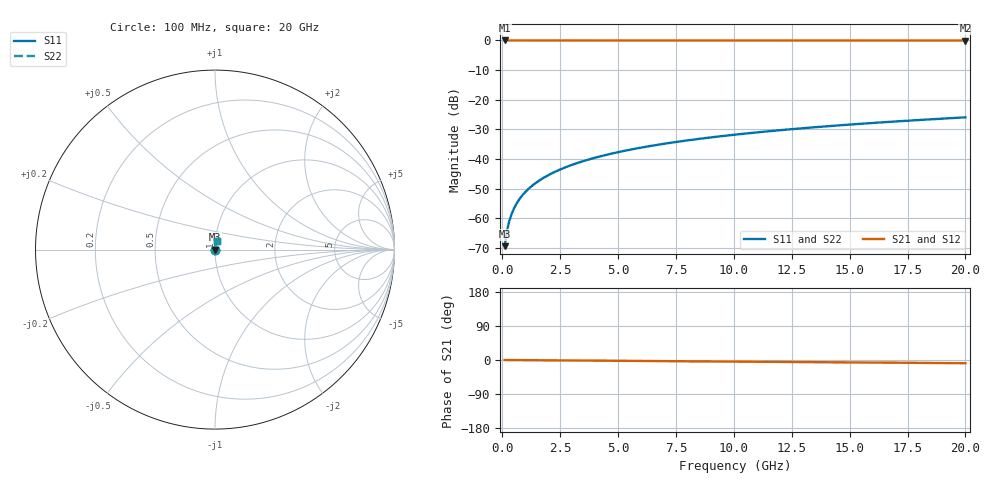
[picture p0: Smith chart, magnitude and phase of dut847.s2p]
! Touchstone file exported from HFSS 2026.1.0
!  File:  C:/ffzhzh/LocalFiles/Ansys_Project_Files/temp_train_TSV_847_1783185037_18472.aedt
!  Generated:  01:12:29 AM Jul  5, 2026
!  Design:  TSV
!  Project:  temp_train_TSV_847_1783185037_18472
! Variables:
!  h_bsmrdl = 2um
!  h_ox = 20um
!  h_rdl = 5um
!  h_sub = 75.52um
!  h_tmrdl = 5um
!  h_tsv = 75.52um
!  h_via = 3um
!  l_bsmrdl = 300um
!  l_sub = 415.88um
!  l_tmrdl = 200um
!  m_sub = 200um
!  pitch = 50.78um
!  r_tsv = 7.94um
!  s_tmrdl = 10um
!  w_bsmrdl = 18um
!  w_sub = 500um
!  w_tmrdl = 12um
!  x_tsv_center1 = 206um
!  x_tsv_center2 = 524um
!  x_tsv_center3 = 736um
!  x_tsv_center4 = 1054um
!  x_tsv_center5 = 1266um
!  x_tsv_center6 = 1584um
# GHz S MA R 50.000000
! Terminal data exported
! Port[1] = TSV1_1_T1
! Port[2] = TSV1_1_T2
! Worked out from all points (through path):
!   200 points, 100 MHz to 20 GHz, reference 50 ohm
!   highest |S21| = 0.00 dB at 100 MHz (marker M1); lowest = 0.0 dB at 20 GHz (marker M2)
!   group delay of S21, straight-line fit = 1.17 ps
!   lowest |S11| = -69.4 dB at 100 MHz (marker M3), VSWR 1.00, Z = 50 + j0.0294 ohm
!   |S11| at or under -10 dB: start of sweep to end of sweep
!   |S22| runs from -69.4 to -25.9 dB; largest |S21 - S12| = 2.3e-15
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0.1  0.0003403 59.7  0.9998 -0.0  0.9998 -0.0  0.0003403 59.7
! Gamma 0 0 0 0
! Port Impedance 50 0 50 0
0.2  0.0006133 72.7  0.9998 -0.1  0.9998 -0.1  0.0006133 72.7
0.3  0.0008961 77.3  0.9998 -0.1  0.9998 -0.1  0.0008961 77.3
0.4  0.001178 79.4  0.9998 -0.2  0.9998 -0.2  0.001178 79.4
0.5  0.001457 80.5  0.9998 -0.2  0.9998 -0.2  0.001457 80.5
0.6  0.001732 81.3  0.9997 -0.3  0.9997 -0.3  0.001732 81.3
0.7  0.002004 81.8  0.9997 -0.3  0.9997 -0.3  0.002004 81.8
0.8  0.002272 82.1  0.9997 -0.4  0.9997 -0.4  0.002272 82.1
1  0.002801 82.7  0.9997 -0.4  0.9997 -0.4  0.002801 82.7
1.4  0.003844 83.5  0.9996 -0.6  0.9996 -0.6  0.003844 83.5
1.7  0.00462 83.9  0.9996 -0.7  0.9996 -0.7  0.00462 83.9
2  0.005395 84.3  0.9995 -0.9  0.9995 -0.9  0.005395 84.3
2.7  0.007199 84.7  0.9995 -1.2  0.9995 -1.2  0.007199 84.7
3.5  0.009255 84.9  0.9994 -1.5  0.9994 -1.5  0.009255 84.9
4.2  0.01105 84.9  0.9993 -1.8  0.9993 -1.8  0.01105 84.9
5  0.01309 84.8  0.9992 -2.1  0.9992 -2.1  0.01309 84.8
6.8  0.01765 84.4  0.999 -2.9  0.999 -2.9  0.01765 84.4
8.3  0.02143 84.0  0.9989 -3.5  0.9989 -3.5  0.02143 84.0
10.1  0.02595 83.5  0.9987 -4.3  0.9987 -4.3  0.02595 83.5
13.4  0.0342 82.4  0.9983 -5.7  0.9983 -5.7  0.0342 82.4
16.7  0.0424 81.2  0.9978 -7.1  0.9978 -7.1  0.0424 81.2
20  0.05053 80.0  0.9973 -8.4  0.9973 -8.4  0.05053 80.0
